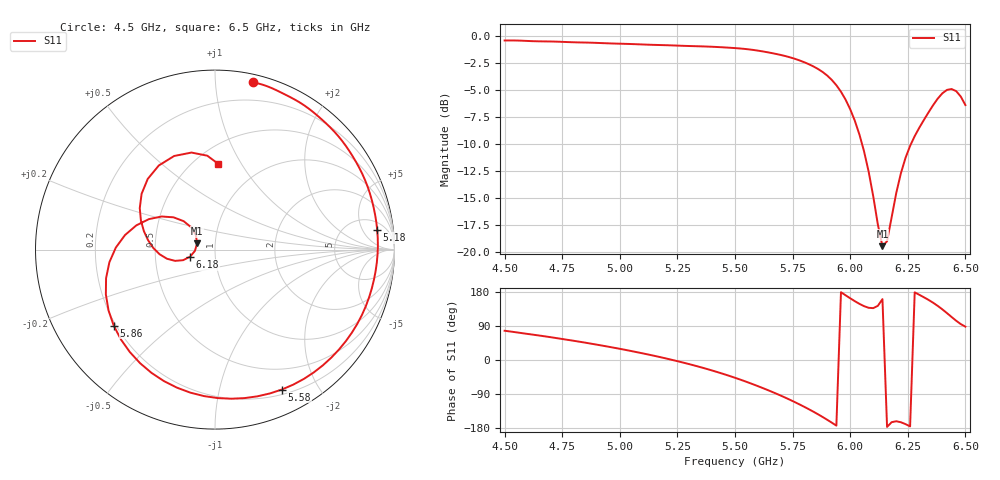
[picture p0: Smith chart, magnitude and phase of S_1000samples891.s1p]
! TOUCHSTONE file generated by CST MICROWAVE STUDIO
! Date and time: Sat Oct 29 17:25:13 2022
! Project name: L.cst
! Parameters = {Di=1.27; Epsilon_r=1.56; InnerDiameter=1.27; Length=2; Lf=10; Lg=60; OuterConductorThickness=0.2921; OuterDiameter=3.6; Wf=3; Wp=41.2; de=1.5; df=6.8; g=0.8; gx=4.43442; gy=0.606672; h=2.34; hf=1.524; px=8.29933; py=11.3601; w=9.7; wx=3.86492; wy=10.7534}
! Header version: 2018
! Port assignment regex: !\s*Touchstone port\s*([0-9]+)\s*=\s*(CST MWS port|CST DS port)\s*([0-9]+|Zmin|Zmax)\s*\(\"(.*)\"\)(\s*mode\s*([0-9]+))?.*
! Touchstone port assignment:
! Touchstone port 1 = CST MWS port 1 ("")
# GHz S DB R 50
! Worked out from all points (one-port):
!   101 points, 4.5 GHz to 6.5 GHz, reference 50 ohm
!   lowest |S11| = -19.5 dB at 6.14 GHz (marker M1), VSWR 1.24, Z = 40.8 + j2.91 ohm
!   |S11| at or under -10 dB: 6.051 GHz to 6.264 GHz (212.7 MHz wide, 3.45 % of centre)
!   S11 on the Smith chart (normalised r, x): 4.5 GHz: 0.06, +1.25; 5.18 GHz: 8, +10; 5.58 GHz: 0.25, -1.56; 5.86 GHz: 0.19, -0.32; 6.18 GHz: 0.75, -0.06; 6.5 GHz: 0.64, +0.80
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4.5  -0.39 77.2
4.76  -0.52 54.5
5  -0.69 29.5
5.18  -0.82 6.9
5.26  -0.87 -4.6
5.38  -0.95 -24.0
5.5  -1.10 -46.9
5.58  -1.27 -64.5
5.68  -1.65 -89.0
5.76  -2.09 -111.2
5.8  -2.40 -123.4
5.86  -3.03 -143.1
5.92  -4.05 -165.3
5.96  -5.15 178.8
6  -6.77 162.9
6.06  -10.67 142.1
6.1  -14.86 136.9
6.14  -19.49 160.6
6.16  -19.03 -176.5
6.18  -16.80 -164.1
6.22  -12.72 -164.3
6.26  -10.18 -175.2
6.32  -7.77 165.5
6.38  -5.79 142.8
6.4  -5.30 133.6
6.44  -4.90 113.6
6.46  -5.09 103.6
6.5  -6.39 88.0
